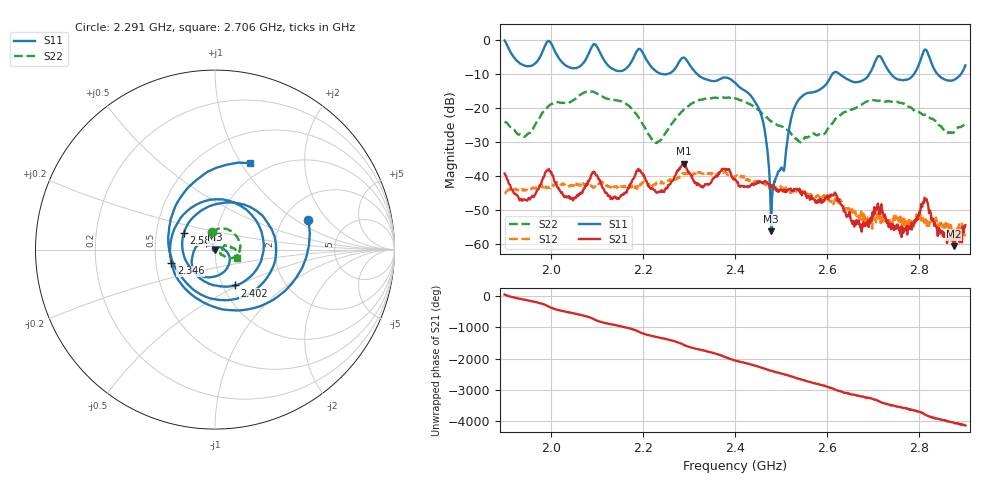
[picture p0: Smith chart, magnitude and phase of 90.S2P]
! C:\Users\rflab\Downloads\Lab5_KD_ZW\90.S2P
! Touchstone 1.1 file saved by VNA.EXE V1.65 (www.ke5fx.com/gpib/readme.htm)
! 11/11/2024 11:44:07 PM
!  Source: HEWLETT PACKARD,8753D,0,6.14
!  Min freq: 1.900000E+009 Hz
!  Max freq: 2.900000E+009 Hz
!  Points: 801
!  Params: S11 S21 S12 S22
# GHZ S RI R 50
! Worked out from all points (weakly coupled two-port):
!   801 points, 1.9 GHz to 2.9 GHz, reference 50 ohm
!   highest |S21| = -36.35 dB at 2.289 GHz (marker M1); lowest = -60.7 dB at 2.875 GHz (marker M2)
!   lowest |S11| = -56.3 dB at 2.479 GHz (marker M3), VSWR 1.00, Z = 50.2 - j0.0168 ohm
!   |S11| at or under -10 dB: 2.318 GHz to 2.611 GHz (292.9 MHz wide, 11.9 % of centre); 2.627 GHz to 2.691 GHz (64.05 MHz wide, 2.41 % of centre); 2.84 GHz to 2.89 GHz (50.59 MHz wide, 1.77 % of centre) (the widest 3 of 5)
!   |S22| runs from -30.3 to -15.0 dB; largest |S21 - S12| = 0.0061
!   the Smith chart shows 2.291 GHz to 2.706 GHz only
!   S11 on the Smith chart (normalised r, x): 2.291 GHz: 2.74, +1.28; 2.346 GHz: 0.60, -0.10; 2.402 GHz: 1.14, -0.48; 2.589 GHz: 0.69, +0.14; 2.706 GHz: 0.83, +1.10
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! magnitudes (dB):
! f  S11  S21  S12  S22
! 1.9 GHz  0.0  -39.3  -45.1  -24.0
! 1.936 GHz  -7.1  -46.9  -44.2  -28.0
! 1.994 GHz  -0.3  -38.2  -43.3  -19.6
! 2.067 GHz  -7.2  -44.7  -42.6  -15.8
! 2.147 GHz  -9.1  -46.8  -42.9  -17.8
! 2.191 GHz  -2.6  -38.4  -42.4  -22.9
! 2.234 GHz  -9.6  -44.7  -42.2  -29.9
! 2.289 GHz  -5.1  -36.3  -39.3  -20.4
! 2.291 GHz  -5.3  -36.7  -39.5  -20.2
! 2.346 GHz  -11.9  -42.2  -39.3  -17.1
! 2.4 GHz  -12.5  -40.8  -40.1  -17.2
! 2.402 GHz  -12.9  -41.4  -40.0  -17.2
! 2.456 GHz  -21.8  -41.8  -41.7  -21.2
! 2.479 GHz  -56.3  -43.2  -44.0  -24.0
! 2.53 GHz  -19.5  -43.9  -44.5  -29.0
! 2.567 GHz  -15.4  -46.6  -45.8  -27.5
! 2.589 GHz  -14.1  -47.2  -46.2  -27.5
! 2.706 GHz  -5.7  -50.0  -53.7  -17.8
! 2.734 GHz  -9.1  -55.1  -53.8  -18.0
! 2.812 GHz  -2.7  -46.6  -53.1  -22.0
! 2.875 GHz  -11.7  -60.7  -56.9  -27.1
! 2.9 GHz  -7.4  -54.5  -57.2  -24.6
